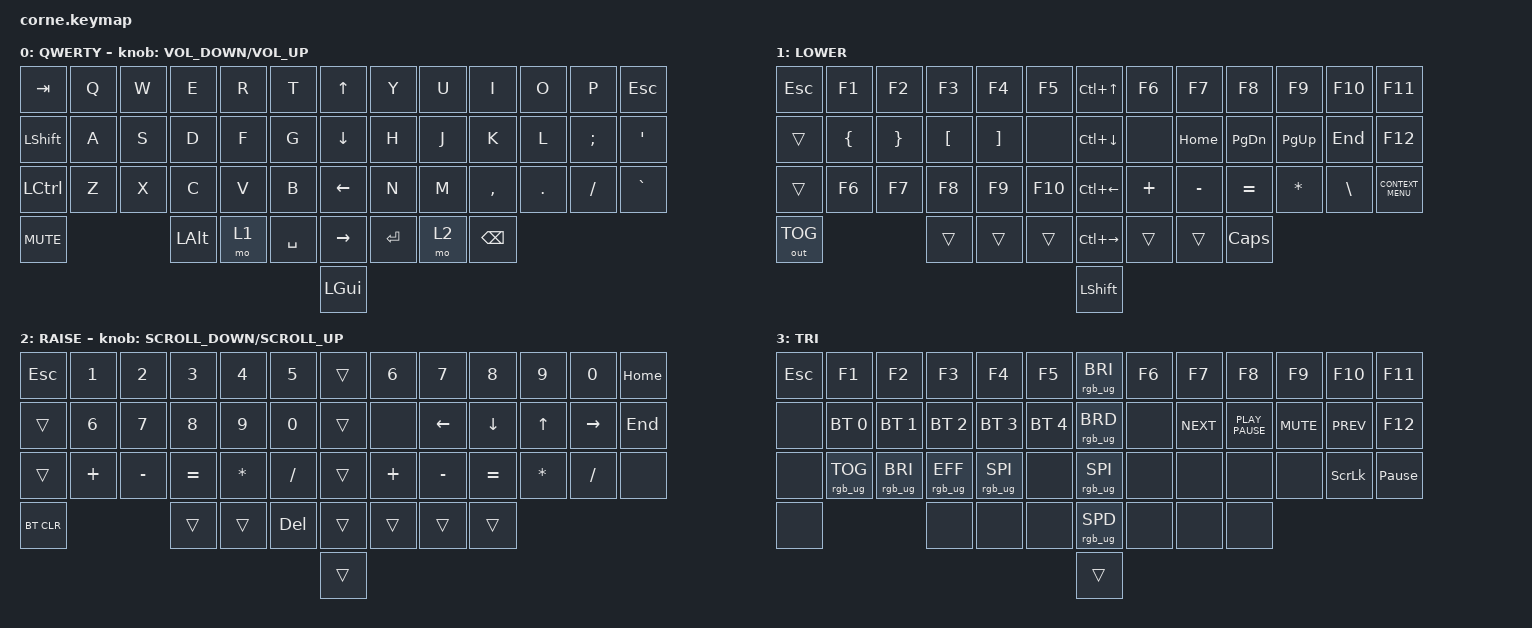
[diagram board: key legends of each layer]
/*
 * Copyright (c) 2020 The ZMK Contributors
 *
 * SPDX-License-Identifier: MIT
 */

#include <behaviors.dtsi>
#include <dt-bindings/zmk/bt.h>
#include <dt-bindings/zmk/ext_power.h>
#include <dt-bindings/zmk/keys.h>
#include <dt-bindings/zmk/outputs.h>
#include <dt-bindings/zmk/rgb.h>

/ {
    chosen {
        zmk,matrix_transform = &default_transform;

        // zmk,matrix_transform = &five_column_transform;
    };
};

/ {
    behaviors {
    };

    conditional_layers {
        compatible = "zmk,conditional-layers";

        trilayer {
            if-layers = <1 2>;
            then-layer = <3>;
        };
    };

    keymap {
        compatible = "zmk,keymap";

        default_layer {
            display-name = "QWERTY";
            bindings = <
&kp TAB           &kp Q  &kp W  &kp E     &kp R  &kp T        &kp UP_ARROW      &kp Y      &kp U  &kp I          &kp O    &kp P     &kp ESC
&kp LEFT_SHIFT    &kp A  &kp S  &kp D     &kp F  &kp G        &kp DOWN_ARROW    &kp H      &kp J  &kp K          &kp L    &kp SEMI  &kp SQT
&kp LEFT_CONTROL  &kp Z  &kp X  &kp C     &kp V  &kp B        &kp LEFT_ARROW    &kp N      &kp M  &kp COMMA      &kp DOT  &kp FSLH  &kp GRAVE
&kp C_MUTE                      &kp LALT  &mo 1  &kp SPACE    &kp RIGHT_ARROW   &kp ENTER  &mo 2  &kp BACKSPACE
                                                              &kp LGUI
            >;
            sensor-bindings = <&inc_dec_kp C_VOLUME_DOWN C_VOLUME_UP>;
        };

        lower_layer {
            display-name = "LOWER";

            bindings = <
&kp ESCAPE    &kp F1          &kp F2    &kp F3    &kp F4    &kp F5     &kp LC(UP_ARROW)     &kp F6    &kp F7     &kp F8         &kp F9        &kp F10   &kp F11
&trans        &kp LEFT_BRACE  &kp RBRC  &kp LBKT  &kp RBKT  &none      &kp LC(DOWN_ARROW)   &none     &kp HOME   &kp PAGE_DOWN  &kp PAGE_UP   &kp END   &kp F12
&trans        &kp F6          &kp F7    &kp F8    &kp F9    &kp F10    &kp LC(LEFT_ARROW)   &kp PLUS  &kp MINUS  &kp EQUAL      &kp ASTERISK  &kp BSLH  &kp K_CONTEXT_MENU
&out OUT_TOG                            &trans    &trans    &trans     &kp LC(RIGHT_ARROW)  &trans    &trans     &kp CAPSLOCK
                                                                       &kp LEFT_SHIFT
            >;
        };

        raise_layer {
            display-name = "RAISE";
            bindings = <
&kp ESCAPE  &kp N1    &kp N2     &kp N3     &kp N4        &kp N5        &trans   &kp N6    &kp N7     &kp N8     &kp N9        &kp N0     &kp HOME
&trans      &kp N6    &kp N7     &kp N8     &kp N9        &kp N0        &trans   &none     &kp LEFT   &kp DOWN   &kp UP_ARROW  &kp RIGHT  &kp END
&trans      &kp PLUS  &kp MINUS  &kp EQUAL  &kp ASTERISK  &kp SLASH     &trans   &kp PLUS  &kp MINUS  &kp EQUAL  &kp ASTERISK  &kp SLASH  &none
&bt BT_CLR                       &trans     &trans        &kp DEL       &trans   &trans    &trans     &trans
                                                                        &trans
            >;
            sensor-bindings = <&inc_dec_kp K_SCROLL_DOWN K_SCROLL_UP>;
        };

        hyper {
            display-name = "TRI";
            bindings = <
&kp ESCAPE  &kp F1           &kp F2           &kp F3           &kp F4           &kp F5          &rgb_ug RGB_BRI     &kp F6       &kp F7      &kp F8            &kp F9      &kp F10         &kp F11
&none   &bt BT_SEL 0     &bt BT_SEL 1     &bt BT_SEL 2     &bt BT_SEL 3     &bt BT_SEL 4    &rgb_ug RGB_BRD     &none        &kp C_NEXT  &kp K_PLAY_PAUSE  &kp K_MUTE  &kp K_PREV      &kp F12
&none   &rgb_ug RGB_TOG  &rgb_ug RGB_BRI  &rgb_ug RGB_EFF  &rgb_ug RGB_SPI  &none           &rgb_ug RGB_SPI     &none        &none       &none             &none       &kp SCROLLLOCK  &kp PAUSE_BREAK
&none                                     &none            &none            &none           &rgb_ug RGB_SPD     &none        &none       &none
                                                                                            &trans
            >;
        };
    };
};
